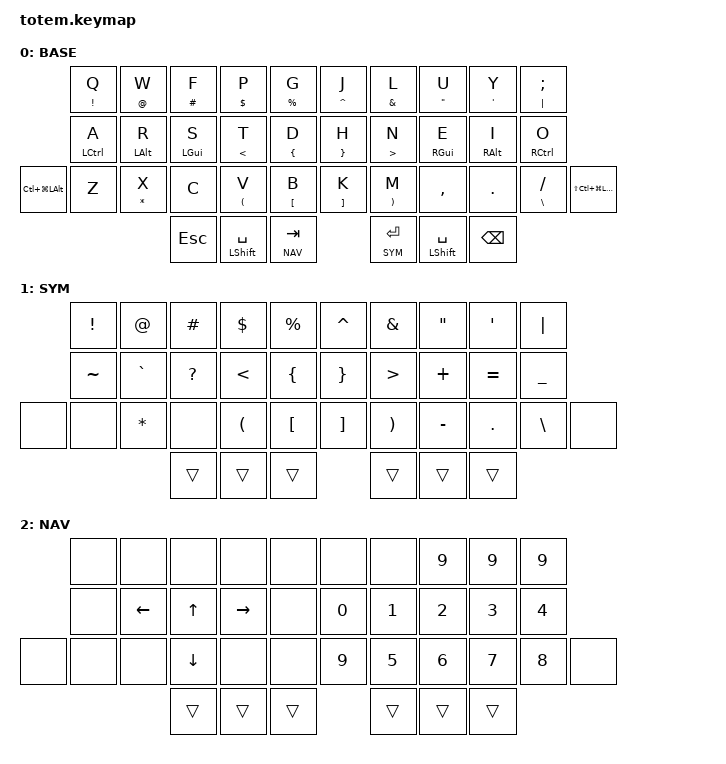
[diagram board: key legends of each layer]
//
//                                                        ▀▀▀▀▀     ▀▀▀▀▀          ▀▀█▀▀
//                                                        ▄▀▀▀▄  ▄  ▄▀▀▀▄  ▄  ▄▀▀▀▄  █  ▄▀▀▀▄
//                                                        █   █  █  █   █  █  █   █  █  █   █
//                                                         ▀▀▀   █   ▀▀▀   █   ▀▀▀   ▀   ▀▀▀
//                                                               █      ▄▄▄█▄▄▄    █   █
//                                                               ▀      █  █  █     █▄█
//                                                             ▀▀▀▀▀    █  █  █      ▀
//                                                                      ▀  ▀  ▀
//
// ▄▄▄▄▄▄▄▄▄▄▄▄▄▄▄▄▄▄▄▄▄▄▄▄▄▄▄▄▄▄▄▄▄▄▄▄▄▄▄▄▄▄▄▄▄▄▄▄▄▄▄▄▄▄▄▄▄▄▄▄▄▄▄▄▄▄▄▄▄▄▄▄▄▄▄▄▄▄▄▄▄▄▄▄▄▄▄▄▄▄▄▄▄▄▄▄▄▄▄▄▄▄▄▄▄▄▄▄▄▄▄▄▄▄▄▄▄▄▄▄▄▄▄▄▄▄▄▄▄▄▄▄▄▄▄▄▄▄▄▄▄▄▄▄▄▄▄▄▄


#include <behaviors.dtsi>
#include <dt-bindings/zmk/keys.h>
#include <dt-bindings/zmk/bt.h>
#include <dt-bindings/zmk/outputs.h>

#define BASE 0
#define SYM  1
#define NAV  2

&mt {
  quick-tap-ms = <150>;
  global-quick-tap;
  flavor = "tap-preferred";
  tapping-term-ms = <200>;
};

/ {
//    conditional_layers {
//        compatible = "zmk,conditional-layers";
//        tri_layer {
//            if-layers = <SYM NAV>;
//            then-layer = <ADJ>;
//        };
//    };


    macros {
        // Bluetooth rescue: force output to BLE, select profile 0, drop its
        // stale bond so the keyboard starts advertising again.
        bt_reset: bt_reset {
            compatible = "zmk,behavior-macro";
            #binding-cells = <0>;
            wait-ms = <250>;
            tap-ms = <30>;
            bindings
                = <&out OUT_BLE>
                , <&bt BT_SEL 0>
                , <&bt BT_CLR>
                ;
        };
    };

   combos {
        compatible = "zmk,combos";
        // Both key positions MUST live on the left (central) half: 3 = P, 4 = G.
        // A cross-half combo is unusable as a BT rescue, because if the split
        // link is down the right half's keypress never reaches the central and
        // the combo can never fire -- exactly when you need it most.
        combo_bt_reset {
            timeout-ms = <75>;
            layers = <NAV>;
            key-positions = <3 4>;
            bindings = <&bt_reset>;
        };

    };

    keymap {
      compatible = "zmk,keymap";
// ▄▄▄▄▄▄▄▄▄▄▄▄▄▄▄▄▄▄▄▄▄▄▄▄▄▄▄▄▄▄▄▄▄▄▄▄▄▄▄▄▄▄▄▄▄▄▄▄▄▄▄▄▄▄▄▄▄▄▄▄▄▄▄▄▄▄▄▄▄▄▄▄▄▄▄▄▄▄▄▄▄▄▄▄▄▄▄▄▄▄▄▄▄▄▄▄▄▄▄▄▄▄▄▄▄▄▄▄▄▄▄▄▄▄▄▄▄▄▄▄▄▄▄▄▄▄▄▄▄▄▄▄▄▄▄▄▄▄▄▄▄▄▄▄▄▄▄▄▄

                base_layer {
// ┏━━━━━━━━━━━━━━━━━━━━━━━━━━━━━━━━━━━━━━━┓
label= "BASE"                              ;
// ┗━━━━━━━━━━━━━━━━━━━━━━━━━━━━━━━━━━━━━━━┛
 bindings = <
               &mt EXCL Q  &mt AT W  &mt HASH F  &mt DLLR P  &mt PRCNT G     &mt CARET J  &mt AMPS L  &mt DQT U   &mt SQT Y   &mt PIPE SEMI
               &mt LCTRL A &mt LALT R  &mt LGUI S  &mt LT T    &mt LBRC D      &mt RBRC H   &mt GT N    &mt RGUI E  &mt RALT I  &mt RCTRL O
&kp LC(LG(LALT))  &kp Z    &mt STAR X  &kp C       &mt LPAR V  &mt LBKT B      &mt RBKT K   &mt RPAR M  &kp COMMA   &kp DOT     &mt BSLH FSLH   &kp LS(LC(LG(LALT)))
                                       &kp ESC     &mt LSHIFT SPACE  &lt NAV TAB  &lt SYM RET &mt LSHIFT SPACE  &kp BSPC
                        >;
                };

// ▄▄▄▄▄▄▄▄▄▄▄▄▄▄▄▄▄▄▄▄▄▄▄▄▄▄▄▄▄▄▄▄▄▄▄▄▄▄▄▄▄▄▄▄▄▄▄▄▄▄▄▄▄▄▄▄▄▄▄▄▄▄▄▄▄▄▄▄▄▄▄▄▄▄▄▄▄▄▄▄▄▄▄▄▄▄▄▄▄▄▄▄▄▄▄▄▄▄▄▄▄▄▄▄▄▄▄▄▄▄▄▄▄▄▄▄▄▄▄▄▄▄▄▄▄▄▄▄▄▄▄▄▄▄▄▄▄▄▄▄▄▄▄▄▄▄▄▄▄


                sym_layer {
// ┏━━━━━━━━━━━━━━━━━━━━━━━━━━━━━━━━━━━━━━━┓
label= "SYM"                              ;
// ┗━━━━━━━━━━━━━━━━━━━━━━━━━━━━━━━━━━━━━━━┛
 bindings = <
                &kp EXCL    &kp AT     &kp HASH     &kp DLLR    &kp PRCNT       &kp CARET   &kp AMPS    &kp DQT     &kp SQT     &kp PIPE
                &kp TILDE   &kp GRAVE  &kp QMARK    &kp LT      &kp LBRC        &kp RBRC    &kp GT      &kp PLUS    &kp EQUAL   &kp UNDER
    &none       &none       &kp STAR   &none        &kp LPAR    &kp LBKT        &kp RBKT    &kp RPAR    &kp MINUS   &kp DOT     &kp BSLH     &none
                                       &trans       &trans      &trans          &trans      &trans      &trans
                        >;
                };

// ▄▄▄▄▄▄▄▄▄▄▄▄▄▄▄▄▄▄▄▄▄▄▄▄▄▄▄▄▄▄▄▄▄▄▄▄▄▄▄▄▄▄▄▄▄▄▄▄▄▄▄▄▄▄▄▄▄▄▄▄▄▄▄▄▄▄▄▄▄▄▄▄▄▄▄▄▄▄▄▄▄▄▄▄▄▄▄▄▄▄▄▄▄▄▄▄▄▄▄▄▄▄▄▄▄▄▄▄▄▄▄▄▄▄▄▄▄▄▄▄▄▄▄▄▄▄▄▄▄▄▄▄▄▄▄▄▄▄▄▄▄▄▄▄▄▄▄▄▄


                nav_layer {
// ┏━━━━━━━━━━━━━━━━━━━━━━━━━━━━━━━━━━━━━━━┓
label= "NAV"                              ;
// ┗━━━━━━━━━━━━━━━━━━━━━━━━━━━━━━━━━━━━━━━┛
 bindings = <
                &none       &none       &none       &none       &none          &none       &none       &kp N9      &kp N9      &kp N9
                &none       &kp LEFT    &kp UP      &kp RIGHT   &none          &kp N0      &kp N1      &kp N2      &kp N3      &kp N4
    &none       &none       &none       &kp DOWN    &none       &none          &kp N9      &kp N5      &kp N6      &kp N7      &kp N8      &none
                                        &trans      &trans      &trans         &trans      &trans      &trans
                        >;
                };

        };
};
